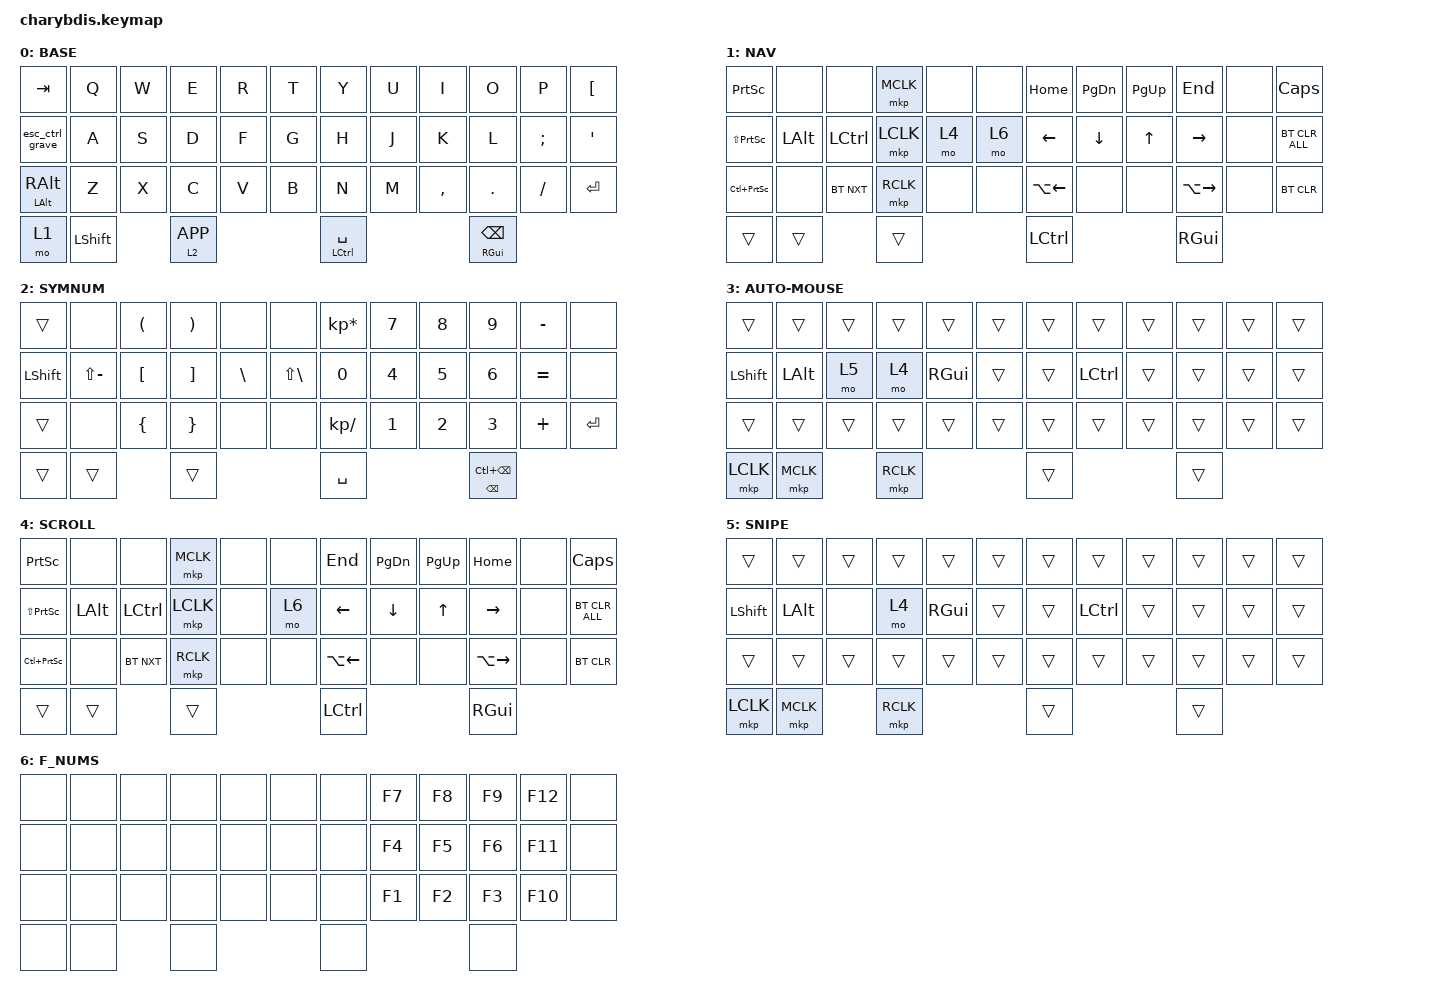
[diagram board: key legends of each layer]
#include <behaviors/mouse_keys.dtsi>
#include <behaviors.dtsi>
#include <dt-bindings/zmk/bt.h>
#include <dt-bindings/zmk/keys.h>
#include <dt-bindings/zmk/mouse.h>
#include <dt-bindings/zmk/outputs.h>

#define U_TAPPING_TERM 150

#define TAPHOLD_SYMBOL(NAME, TAP, HOLD) \
     NAME: NAME { \
        compatible = "zmk,behavior-hold-tap"; \
        label = ZMK_MACRO_STRINGIFY(NAME); \
        #binding-cells = <2>; \
        tapping-term-ms = <TAPPING_TERM>; \
        flavor = "tap-preferred"; \
        quick-tap-ms = <QUICK_TAP_TERM>; \
        require-prior-idle-ms = <QUICK_TAP_TERM>; \
        bindings = <HOLD>, <TAP>; \
    };


/ {
    chosen { zmk,matrix_transform = &default_transform; };
};

/ {
//   combos {
//       compatible = "zmk,combos";
//
//       LeftClickRight {
//           bindings = <&mkp LCLK>;
//           key-positions = <19 20>;
//       };
//
//       RightClickRight {
//           bindings = <&mkp RCLK>;
//           key-positions = <20 21>;
//       };
//
//       MiddleClickRight {
//           bindings = <&mkp MCLK>;
//           key-positions = <21 22>;
//       };
//
//       ParaLeft {
//           bindings = <&kp LEFT_PARENTHESIS>;
//           key-positions = <4 16>;
//       };
//
//       ParaRight {
//           bindings = <&kp RIGHT_PARENTHESIS>;
//           key-positions = <7 19>;
//       };
//
//       BrakLeft {
//           bindings = <&kp LEFT_BRACKET>;
//           key-positions = <3 15>;
//       };
//
//       BrakRight {
//           bindings = <&kp RIGHT_BRACKET>;
//           key-positions = <8 20>;
//       };
//
//       BraceLeft {
//           bindings = <&kp LEFT_BRACE>;
//           key-positions = <2 14>;
//       };
//
//       BraceRight {
//           bindings = <&kp RIGHT_BRACE>;
//           key-positions = <9 21>;
//       };
//
//       Delete {
//           bindings = <&kp DELETE>;
//           key-positions = <8 9>;
//       };
//
//       CapsWord {
//           bindings = <&caps_word>;
//           key-positions = <17 18>;
//       };
//   };

    behaviors {
        u_mt: u_mt {
            compatible = "zmk,behavior-hold-tap";
            label = "u_mt";
            #binding-cells = <2>;
            tapping_term_ms = <U_TAPPING_TERM>;
            flavor = "tap-preferred";
            bindings = <&kp>, <&kp>;
        };

        h_mt: h_mt {
            compatible = "zmk,behavior-hold-tap";
            label = "u_mt";
            #binding-cells = <2>;
            tapping_term_ms = <120>;
            flavor = "hold-preferred";
            bindings = <&kp>, <&kp>;
        };

        u_lt: u_lt {
            compatible = "zmk,behavior-hold-tap";
            label = "u_lt";
            #binding-cells = <2>;
            tapping_term_ms = <U_TAPPING_TERM>;
            flavor = "tap-preferred";
            bindings = <&mo>, <&kp>;
        };

        h_lt: h_lt {
            compatible = "zmk,behavior-hold-tap";
            label = "u_lt";
            #binding-cells = <2>;
            tapping_term_ms = <120>;
            flavor = "hold-preferred";
            bindings = <&mo>, <&kp>;
        };

        Shift_Enter: Shift_Enter {
            compatible = "zmk,behavior-hold-tap";
            label = "SHIFT_ENTER";
            bindings = <&kp>, <&kp>;

            #binding-cells = <2>;
            hold-trigger-key-positions = <40>;
            tapping-term-ms = <100>;
        };

        esc_ctrl_grave: esc_ctrl_grave {
            compatible = "zmk,behavior-mod-morph";
            #binding-cells = <0>;
            bindings = <&u_mt LCTRL ESC>, <&kp GRAVE>;
            mods = <(MOD_RGUI)>;
        };
    };

    keymap {
        compatible = "zmk,keymap";

        BASE {
            bindings = <
&kp TAB          &kp Q  &kp W  &kp E  &kp R  &kp T       &kp Y  &kp U  &kp I      &kp O    &kp P     &kp LBKT
&esc_ctrl_grave  &kp A  &kp S  &kp D  &kp F  &kp G       &kp H  &kp J  &kp K      &kp L    &kp SEMI  &kp APOS
&h_mt LALT RALT  &kp Z  &kp X  &kp C  &kp V  &kp B       &kp N  &kp M  &kp COMMA  &kp DOT  &kp FSLH  &kp RET

&mo 1            &kp LSHIFT    &h_lt 2 K_APP             &u_mt LCTRL SPACE    &u_mt RGUI BKSP
            >;
        };

        NAV {
            bindings = <
&kp PSCRN           &none      &none         &mkp MCLK  &none      &none       &kp HOME       &kp PG_DN     &kp PG_UP     &kp END         &none           &kp CAPS
&kp LS(PSCRN)       &kp LALT   &kp LCTRL     &mkp LCLK  &mo 4      &mo 6       &kp LEFT       &kp DOWN      &kp    UP     &kp RIGHT       &none           &bt BT_CLR_ALL
&kp LC(PSCRN)       &none      &bt BT_NXT    &mkp RCLK  &none      &none       &kp LA(LEFT)   &none         &none         &kp LA(RIGHT)   &none           &bt BT_CLR

&trans    &trans    &trans                                                   &kp LCTRL    &kp RGUI
            >;
        };

        SYMNUM {
            bindings = <
&trans      &none          &kp LPAR  &kp RPAR  &none     &none              &kp KP_MULTIPLY  &kp N7  &kp N8  &kp N9  &kp MINUS  &none
&kp LSHIFT  &kp LS(MINUS)  &kp LBKT  &kp RBKT  &kp BSLH  &kp LS(BSLH)       &kp N0           &kp N4  &kp N5  &kp N6  &kp EQUAL  &none
&trans      &none          &kp LBRC  &kp RBRC  &none     &none              &kp KP_DIVIDE    &kp N1  &kp N2  &kp N3  &kp PLUS   &kp RET

&trans    &trans    &trans                                                  &kp SPACE    &u_mt BKSP LC(BKSP) // BKSP macro
            >;
        };

        AUTO-MOUSE {
            bindings = <
&trans     &trans    &trans      &trans    &trans    &trans       &trans  &trans     &trans  &trans  &trans  &trans
&kp LSHIFT &kp LALT  &mo    5    &mo     4 &kp RGUI  &trans       &trans  &kp LCTRL  &trans  &trans  &trans  &trans
&trans     &trans    &trans      &trans    &trans    &trans       &trans  &trans     &trans  &trans  &trans  &trans

&mkp LCLK  &mkp MCLK  &mkp RCLK                      &trans  &trans
            >;
        };

        SCROLL {
            bindings = <
&kp PSCRN           &none      &none         &mkp MCLK  &none      &none       &kp END        &kp PG_DN     &kp PG_UP     &kp HOME        &none           &kp CAPS
&kp LS(PSCRN)       &kp LALT   &kp LCTRL     &mkp LCLK  &none      &mo 6       &kp LEFT       &kp DOWN      &kp    UP     &kp RIGHT       &none           &bt BT_CLR_ALL
&kp LC(PSCRN)       &none      &bt BT_NXT    &mkp RCLK  &none      &none       &kp LA(LEFT)   &none         &none         &kp LA(RIGHT)   &none           &bt BT_CLR

&trans    &trans    &trans                                                   &kp LCTRL    &kp RGUI
            >;
        };

        SNIPE {
            bindings = <
&trans     &trans    &trans      &trans    &trans    &trans       &trans  &trans     &trans  &trans  &trans  &trans
&kp LSHIFT &kp LALT  &none       &mo     4 &kp RGUI  &trans       &trans  &kp LCTRL  &trans  &trans  &trans  &trans
&trans     &trans    &trans      &trans    &trans    &trans       &trans  &trans     &trans  &trans  &trans  &trans

&mkp LCLK  &mkp MCLK  &mkp RCLK                      &trans  &trans
            >;
        };

        F_NUMS {
            bindings = <
&none      &none  &none  &none     &none     &none              &none            &kp F7  &kp F8  &kp F9  &kp F12  &none
&none      &none  &none  &none     &none     &none              &none            &kp F4  &kp F5  &kp F6  &kp F11  &none
&none      &none  &none  &none     &none     &none              &none            &kp F1  &kp F2  &kp F3  &kp F10  &none

&none    &none    &none                                                  &none    &none
            >;

        };
    };
};
